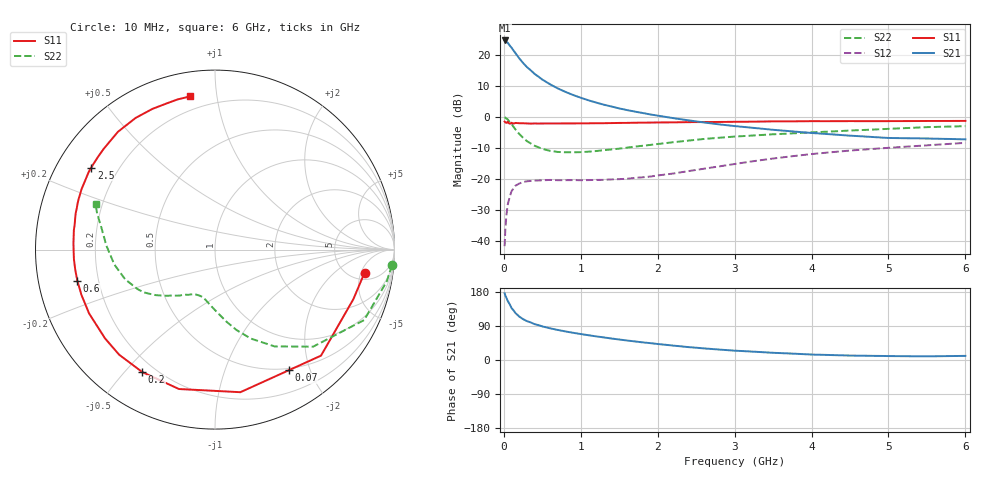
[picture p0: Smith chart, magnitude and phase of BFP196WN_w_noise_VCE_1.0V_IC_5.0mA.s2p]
! (c) 2017  Infineon Technologies AG, Munich
! Infineon Technologies  Discrete & RF Semiconductors
! BFP196WN
! VCE =  1.0 V,  IC =  5.0 mA
! Common Emitter S-Parameters:  Jan 2017
# GHz  S  MA  R  50
!  f  S11  S21  S12  S22
! GHz  MAG  ANG  MAG  ANG  MAG  ANG  MAG  ANG
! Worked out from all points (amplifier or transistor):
!   77 points, 10 MHz to 6 GHz, reference 50 ohm
!   highest |S21| = 24.6 dB at 10 MHz (marker M1)
!   |S21| within 3 dB of that: start of sweep to 119.6 MHz
!   unconditionally stable (mu >= 1): 1.324 GHz to 3.004 GHz
!   at 130 MHz: K = 0.12, MSG = 22.0 dB, |S12| = -22.8 dB
!   at 2.2 GHz: K = 1.14, MAG = 6.7 dB, |S12| = -18.2 dB
!   at 6 GHz: K = 0.97, MSG = 0.6 dB, |S12| = -8.3 dB
!   lowest NFmin = 1.08 dB at 450 MHz
!   S11 on the Smith chart (normalised r, x): 10 MHz: 6.50, -5.80; 70 MHz: 0.47, -1.68; 200 MHz: 0.15, -0.56; 600 MHz: 0.12, -0.11; 2.5 GHz: 0.10, +0.30; 6 GHz: 0.12, +0.84
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0.01  0.8431 -8.8  16.95 176.2  0.0084 86.2  0.9892 -5.1
0.02  0.8187 -19.8  16.46 170.1  0.016 81.8  0.9737 -10.4
0.05  0.8354 -45.0  15.66 155.9  0.0387 67.2  0.9189 -25.3
0.07  0.7879 -58.6  14.41 149.2  0.0484 58.6  0.8476 -32.2
0.1  0.807 -79.9  13 137.1  0.0642 50.9  0.7689 -44.7
0.15  0.8023 -104.5  10.64 124.1  0.0785 39.9  0.6344 -58.3
0.2  0.7936 -120.7  8.764 114.7  0.0852 33.3  0.5341 -68.1
0.25  0.7926 -132.4  7.376 107.8  0.0901 28.5  0.4641 -75.0
0.3  0.7875 -141.1  6.336 102.6  0.0926 25.2  0.4088 -80.7
0.4  0.7866 -153.1  4.917 94.6  0.0952 21.5  0.3447 -88.8
0.5  0.7857 -161.2  3.99 88.7  0.096 19.7  0.3077 -95.4
0.6  0.7864 -167.3  3.355 83.7  0.0974 19.2  0.2857 -100.4
0.7  0.7866 -171.9  2.881 79.4  0.0964 19.0  0.2742 -104.0
0.8  0.7878 -176.1  2.532 75.4  0.0965 20.0  0.2708 -107.4
1.1  0.7908 174.7  1.853 65.4  0.0968 23.9  0.2768 -116.1
1.5  0.8019 165.5  1.373 54.1  0.1002 32.0  0.3098 -125.5
2.1  0.8174 153.8  1.004 40.2  0.119 45.0  0.3798 -137.5
2.5  0.827 146.5  0.85 32.4  0.1411 50.4  0.43 -144.6
3.1  0.8377 136.3  0.695 23.6  0.1833 53.1  0.492 -154.9
4.1  0.8558 119.7  0.543 13.9  0.2604 48.6  0.5732 -173.8
5.1  0.8582 107.5  0.458 10.2  0.3254 40.6  0.6527 167.7
6  0.865 99.1  0.437 10.9  0.3839 33.5  0.7122 159.0
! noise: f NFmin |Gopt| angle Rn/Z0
0.45  1.08  0.44  121  0.07
0.9  1.21  0.58  158  0.06
1.9  2.72  0.75  203  0.15
2.4  3.62  0.76  211  0.29
